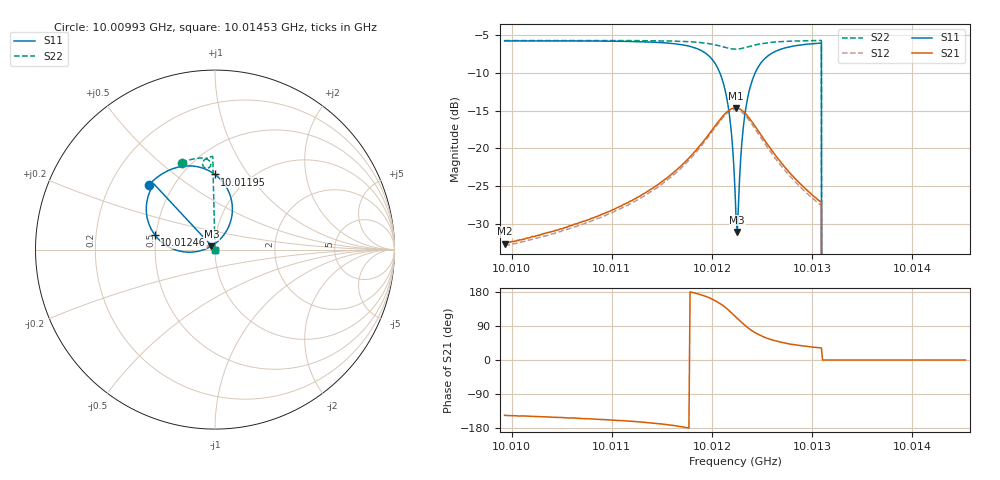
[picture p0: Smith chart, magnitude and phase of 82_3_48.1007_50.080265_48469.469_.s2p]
#  HZ  S  RI  R  50.00
! Rohde & Schwarz Vector Network Analyzer
! Rohde-Schwarz,ZNB20-2Port,1311601062101988,3.16
! Created: UTC 12/23/2023, 3:42:52 AM
! freq[Hz]  re:S11  im:S11  re:S21  im:S21  re:S12  im:S12  re:S22  im:S22
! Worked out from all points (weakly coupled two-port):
!   401 points, 10.00993 GHz to 10.01453 GHz, reference 50 ohm
!   highest |S21| = -14.64 dB at 10.01224 GHz (marker M1); lowest = -32.6 dB at 10.00993 GHz (marker M2)
!   lowest |S11| = -31.1 dB at 10.01225 GHz (marker M3), VSWR 1.06, Z = 48 + j1.87 ohm
!   |S11| at or under -10 dB: 10.01208 GHz to 10.01243 GHz (351.8 kHz wide, 0.00351 % of centre); 10.01309 GHz to end of sweep
!   |S22| runs from - to -5.7 dB; largest |S21 - S12| = 0.009
!   S11 on the Smith chart (normalised r, x): 10.00993 GHz: 0.37, +0.36; 10.01195 GHz: 0.70, +0.71; 10.01246 GHz: 0.49, +0.09; 10.01453 GHz: 1.00, +0.00
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1.0009929e10  -0.3689 0.3608  -0.0193 -0.013  -0.0179 -0.0134  -0.1858 0.4843
1.00107e10  -0.3133 0.4095  -0.0293 -0.0139  -0.0273 -0.0149  -0.1362 0.501
1.0011471e10  -0.2065 0.4595  -0.0567 -0.0121  -0.0541 -0.0142  -0.0794 0.5104
1.0011954e10  -0.000574 0.4187  -0.1169 0.0284  -0.1148 0.0215  -0.0323 0.4958
1.0012057e10  0.0715 0.3333  -0.1317 0.068  -0.1319 0.0596  -0.0242 0.4813
1.0012138e10  0.0966 0.2113  -0.1271 0.115  -0.1292 0.1069  -0.0259 0.4655
1.0012172e10  0.0839 0.1475  -0.1151 0.1373  -0.1185 0.1291  -0.0302 0.4593
1.0012195e10  0.0647 0.1053  -0.1031 0.1511  -0.1069 0.1435  -0.0345 0.456
1.001223e10  0.0194 0.0488  -0.08 0.1672  -0.0841 0.1602  -0.0425 0.4531
1.0012241e10  0.000679 0.0331  -0.0715 0.1711  -0.0759 0.1642  -0.0452 0.4527
1.0012253e10  -0.0199 0.0195  -0.0625 0.1739  -0.0673 0.1672  -0.0479 0.4529
1.0012264e10  -0.0413 0.00801  -0.0537 0.1761  -0.0581 0.1694  -0.0508 0.4533
1.001231e10  -0.1318 -0.0143  -0.0181 0.1752  -0.0221 0.1693  -0.0605 0.458
1.0012333e10  -0.176 -0.0122  -0.00176 0.1703  -0.00574 0.1646  -0.064 0.4618
1.0012391e10  -0.2668 0.02  0.0297 0.15  0.0237 0.1451  -0.0686 0.4729
1.001246e10  -0.3351 0.0817  0.049 0.1217  0.0439 0.1177  -0.0677 0.4852
1.0012644e10  -0.3828 0.2226  0.0564 0.0673  0.0513 0.0661  -0.0526 0.5054
1.0013e10  -0.3509 0.3479  0.0405 0.0275  0.0374 0.028  -0.0202 0.5181
1.0013069e10  -0.3428 0.3615  0.0379 0.0242  0.0349 0.0246  -0.0145 0.5191
1.0013127e10  0 0  0 0  0 0  0 0
1.0013771e10  0 0  0 0  0 0  0 0
1.001453e10  0 0  0 0  0 0  0 0
